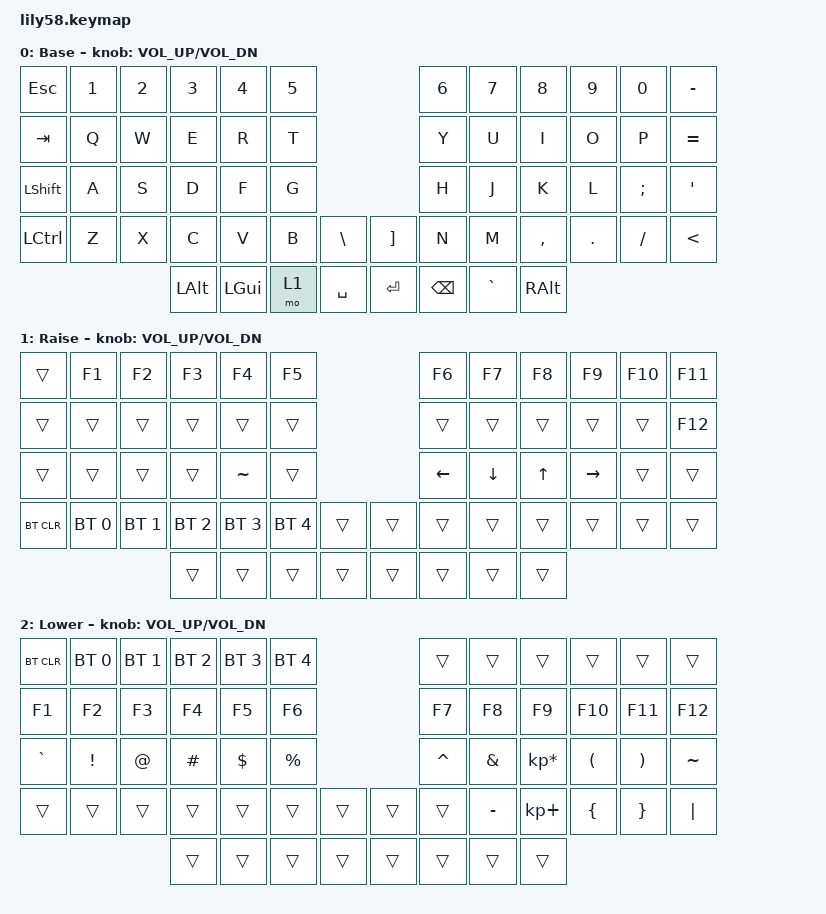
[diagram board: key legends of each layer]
/*
 * Copyright (c) 2020 The ZMK Contributors
 *
 * SPDX-License-Identifier: MIT
 */

#include <behaviors.dtsi>
#include <dt-bindings/zmk/bt.h>
#include <dt-bindings/zmk/keys.h>

#include "keys_de.h"

/ {
    keymap {
        compatible = "zmk,keymap";

        default_layer {
            // ------------------------------------------------------------------------------------------------------------
            // |  ESC  |  1  |  2  |  3   |  4   |  5   |                   |  6   |  7    |  8    |  9   |   0   |   `   |
            // |  TAB  |  Q  |  W  |  E   |  R   |  T   |                   |  Y   |  U    |  I    |  O   |   P   |   -   |
            // |  CTRL |  A  |  S  |  D   |  F   |  G   |                   |  H   |  J    |  K    |  L   |   ;   |   '   |
            // | SHIFT |  Z  |  X  |  C   |  V   |  B   |   "["  |  |  "]"  |  N   |  M    |  ,    |  .   |   /   | SHIFT |
            //                     | ALT  | GUI  | LOWER|  SPACE |  | ENTER | RAISE| BSPC  | GUI   |

            display-name = "Base";
            bindings = <
&kp ESC           &kp N1  &kp N2  &kp N3    &kp N4    &kp N5                             &kp N6         &kp N7     &kp N8         &kp N9   &kp N0    &kp MINUS
&kp TAB           &kp Q   &kp W   &kp E     &kp R     &kp T                              &kp Y          &kp U      &kp I          &kp O    &kp P     &kp EQUAL
&kp LEFT_SHIFT    &kp A   &kp S   &kp D     &kp F     &kp G                              &kp H          &kp J      &kp K          &kp L    &kp SEMI  &kp SQT
&kp LEFT_CONTROL  &kp Z   &kp X   &kp C     &kp V     &kp B   &kp BACKSLASH    &kp RBKT  &kp N          &kp M      &kp COMMA      &kp DOT  &kp FSLH  &kp LESS_THAN
                                  &kp LALT  &kp LGUI  &mo 1   &kp SPACE        &kp RET   &kp BACKSPACE  &kp GRAVE  &kp RIGHT_ALT
            >;

            sensor-bindings = <&inc_dec_kp C_VOL_UP C_VOL_DN>;
        };

        raise_layer {
            // ------------------------------------------------------------------------------------------------------------
            // |       |     |     |      |      |      |                   |      |       |       |      |       |       |
            // |   `   |  1  |  2  |  3   |  4   |  5   |                   |  6   |   7   |   8   |  9   |   0   |       |
            // |   F1  |  F2 |  F3 |  F4  |  F5  |  F6  |                   |      |   <-  |   v   |  ^   |  ->   |       |
            // |   F7  |  F8 |  F9 |  F10 |  F11 |  F12 |        |  |       |  +   |   -   |   =   |  [   |   ]   |   \   |
            //                     |      |      |      |        |  |       |      |       |       |

            display-name = "Raise";
            bindings = <
&trans      &kp F1        &kp F2        &kp F3        &kp F4        &kp F5                          &kp F6          &kp F7          &kp F8        &kp F9     &kp F10  &kp F11
&trans      &trans        &trans        &trans        &trans        &trans                          &trans          &trans          &trans        &trans     &trans   &kp F12
&trans      &trans        &trans        &trans        &kp TILDE     &trans                          &kp LEFT_ARROW  &kp DOWN_ARROW  &kp UP_ARROW  &kp RIGHT  &trans   &trans
&bt BT_CLR  &bt BT_SEL 0  &bt BT_SEL 1  &bt BT_SEL 2  &bt BT_SEL 3  &bt BT_SEL 4  &trans    &trans  &trans          &trans          &trans        &trans     &trans   &trans
                                        &trans        &trans        &trans        &trans    &trans  &trans          &trans          &trans
            >;

            sensor-bindings = <&inc_dec_kp C_VOL_UP C_VOL_DN>;
        };

        lower_layer {
            // ------------------------------------------------------------------------------------------------------------
            // | BTCLR | BT1 | BT2 |  BT3 |  BT4 |  BT5 |                   |      |       |       |      |       |       |
            // |  F1   |  F2 |  F3 |  F4  |  F5  |  F6  |                   |  F7  |  F8   |  F9   |  F10 |  F11  |  F12  |
            // |   `   |  !  |  @  |  #   |  $   |  %   |                   |  ^   |  &    |  *    |  (   |   )   |   ~   |
            // |       |     |     |      |      |      |        |  |       |      |  _    |  +    |  {   |   }   |  "|"  |
            //                     |      |      |      |        |  |       |      |       |       |

            display-name = "Lower";
            bindings = <
&bt BT_CLR  &bt BT_SEL 0  &bt BT_SEL 1  &bt BT_SEL 2  &bt BT_SEL 3  &bt BT_SEL 4                    &trans     &trans     &trans           &trans    &trans    &trans
&kp F1      &kp F2        &kp F3        &kp F4        &kp F5        &kp F6                          &kp F7     &kp F8     &kp F9           &kp F10   &kp F11   &kp F12
&kp GRAVE   &kp EXCL      &kp AT        &kp HASH      &kp DOLLAR    &kp PRCNT                       &kp CARET  &kp AMPS   &kp KP_MULTIPLY  &kp LPAR  &kp RPAR  &kp TILDE
&trans      &trans        &trans        &trans        &trans        &trans        &trans    &trans  &trans     &kp MINUS  &kp KP_PLUS      &kp LBRC  &kp RBRC  &kp PIPE
                                        &trans        &trans        &trans        &trans    &trans  &trans     &trans     &trans
            >;

            sensor-bindings = <&inc_dec_kp C_VOL_UP C_VOL_DN>;
        };

        extra_1 { status = "reserved"; };

        extra_2 { status = "reserved"; };

        extra_3 { status = "reserved"; };
    };
};
